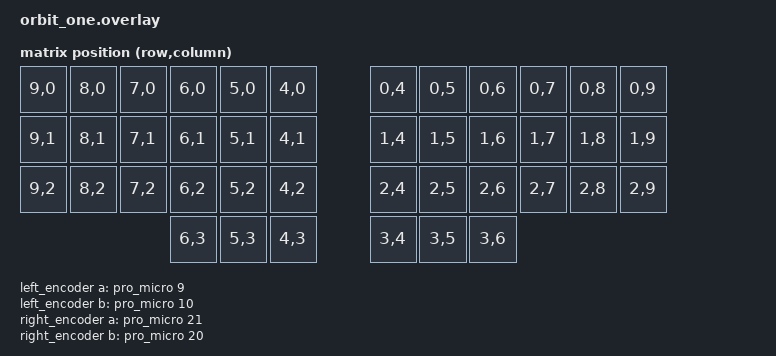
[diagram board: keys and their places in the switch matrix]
#include <dt-bindings/zmk/matrix_transform.h>
#include <physical_layouts.dtsi>

/ {

    chosen {
        zmk,kscan = &kscan0;
        zmk,physical-layout = &physical_layout0;
    };
  
    default_transform: keymap_transform_0 {
        compatible = "zmk,matrix-transform";
        columns = <12>;
        rows = <4>;
// | SW6  | SW5  | SW4  | SW3  | SW2  | SW1  |                 | SW1  | SW2  | SW3  | SW4  | SW5  | SW6  |
// | SW12 | SW11 | SW10 | SW9  | SW8  | SW7  |                 | SW7  | SW8  | SW9  | SW10 | SW11 | SW12 |
// | SW18 | SW17 | SW16 | SW15 | SW14 | SW13 |                 | SW13 | SW14 | SW15 | SW16 | SW17 | SW18 |
//                      | SW29 | SW28 | SW27 |                 | SW27 | SW28 | SW29 |
        map = <
          RC(9, 0) RC(8,0) RC(7,0) RC(6,0) RC(5,0) RC(4,0)                   RC(0,4) RC(0,5) RC(0,6)  RC(0,7) RC(0,8) RC(0,9)
          RC(9, 1) RC(8,1) RC(7,1) RC(6,1) RC(5,1) RC(4,1)                   RC(1,4) RC(1,5) RC(1,6)  RC(1,7) RC(1,8) RC(1,9)
          RC(9, 2) RC(8,2) RC(7,2) RC(6,2) RC(5,2) RC(4,2)                   RC(2,4) RC(2,5) RC(2,6)  RC(2,7) RC(2,8) RC(2,9)
                                   RC(6,3) RC(5,3) RC(4,3)                   RC(3,4) RC(3,5) RC(3,6)
        >;
    };

    kscan0: kscan_charlyplex {
      compatible = "zmk,kscan-gpio-charlieplex";
      wakeup-source;

            // row1 -> row4
      gpios = <&pro_micro 14 (GPIO_ACTIVE_HIGH)>  // 0
            , <&pro_micro 16 (GPIO_ACTIVE_HIGH)>  // 1
            , <&pro_micro 7 (GPIO_ACTIVE_HIGH)>   // 2
            , <&pro_micro 8 (GPIO_ACTIVE_HIGH)>   // 3
            // col1 -> col6
            , <&pro_micro 19 (GPIO_ACTIVE_HIGH)>  // 4
            , <&pro_micro 18 (GPIO_ACTIVE_HIGH)>  // 5
            , <&pro_micro 15 (GPIO_ACTIVE_HIGH)>  // 6
            , <&pro_micro 4 (GPIO_ACTIVE_HIGH)>   // 7
            , <&pro_micro 5 (GPIO_ACTIVE_HIGH)>   // 8
            , <&pro_micro 6 (GPIO_ACTIVE_HIGH)>   // 9
            ;
    };

    // Encoder definitions
    left_encoder: encoder_left {
        compatible = "alps,ec11";
        a-gpios = <&pro_micro 9 (GPIO_ACTIVE_HIGH | GPIO_PULL_UP)>;
        b-gpios = <&pro_micro 10 (GPIO_ACTIVE_HIGH | GPIO_PULL_UP)>;
        status = "okay";
    };

    right_encoder: encoder_right {
        compatible = "alps,ec11";
        a-gpios = <&pro_micro 21 (GPIO_ACTIVE_HIGH | GPIO_PULL_UP)>;
        b-gpios = <&pro_micro 20 (GPIO_ACTIVE_HIGH | GPIO_PULL_UP)>;
        status = "okay";
    };

    sensors: sensors {
        compatible = "zmk,keymap-sensors";
        sensors = <&left_encoder &right_encoder>;
        triggers-per-rotation = <20>;
    };

    // pointing device
    glidepoint_listener: glidepoint_input {
        compatible = "zmk,input-listener";
        device = <&glidepoint>;
    };

    physical_layout0: physical_layout_0 {
        compatible = "zmk,physical-layout";
        display-name = "Default Layout";

        kscan = <&kscan0>;
        transform = <&default_transform>;

    keys  //                     w   h    x    y     rot    rx    ry
            = <&key_physical_attrs 100 100    0   50       0     0     0>
            , <&key_physical_attrs 100 100  100   37       0     0     0>
            , <&key_physical_attrs 100 100  200   12       0     0     0>
            , <&key_physical_attrs 100 100  300    0       0     0     0>
            , <&key_physical_attrs 100 100  400   12       0     0     0>
            , <&key_physical_attrs 100 100  500   25       0     0     0>
            , <&key_physical_attrs 100 100 1050   25       0     0     0>
            , <&key_physical_attrs 100 100 1150   12       0     0     0>
            , <&key_physical_attrs 100 100 1250    0       0     0     0>
            , <&key_physical_attrs 100 100 1350   12       0     0     0>
            , <&key_physical_attrs 100 100 1450   37       0     0     0>
            , <&key_physical_attrs 100 100 1550   50       0     0     0>
            , <&key_physical_attrs 100 100    0  150       0     0     0>
            , <&key_physical_attrs 100 100  100  137       0     0     0>
            , <&key_physical_attrs 100 100  200  112       0     0     0>
            , <&key_physical_attrs 100 100  300  100       0     0     0>
            , <&key_physical_attrs 100 100  400  112       0     0     0>
            , <&key_physical_attrs 100 100  500  125       0     0     0>
            , <&key_physical_attrs 100 100 1050  125       0     0     0>
            , <&key_physical_attrs 100 100 1150  112       0     0     0>
            , <&key_physical_attrs 100 100 1250  100       0     0     0>
            , <&key_physical_attrs 100 100 1350  112       0     0     0>
            , <&key_physical_attrs 100 100 1450  137       0     0     0>
            , <&key_physical_attrs 100 100 1550  150       0     0     0>
            , <&key_physical_attrs 100 100    0  250       0     0     0>
            , <&key_physical_attrs 100 100  100  237       0     0     0>
            , <&key_physical_attrs 100 100  200  212       0     0     0>
            , <&key_physical_attrs 100 100  300  200       0     0     0>
            , <&key_physical_attrs 100 100  400  212       0     0     0>
            , <&key_physical_attrs 100 100  500  225       0     0     0>
            , <&key_physical_attrs 100 100 1050  225       0     0     0>
            , <&key_physical_attrs 100 100 1150  212       0     0     0>
            , <&key_physical_attrs 100 100 1250  200       0     0     0>
            , <&key_physical_attrs 100 100 1350  212       0     0     0>
            , <&key_physical_attrs 100 100 1450  237       0     0     0>
            , <&key_physical_attrs 100 100 1550  250       0     0     0>
            , <&key_physical_attrs 100 100  250  312       0     0     0>
            , <&key_physical_attrs 100 100  350  315       0     0     0>
            , <&key_physical_attrs 100 100  450  325       0     0     0>
            , <&key_physical_attrs 100 150  575  300    3000   625   375>
            , <&key_physical_attrs 100 150  975  300 (-3000)  1025   375>
            , <&key_physical_attrs 100 100 1100  325       0     0     0>
            , <&key_physical_attrs 100 100 1200  315       0     0     0>
            , <&key_physical_attrs 100 100 1300  315       0     0     0>
            ;
    };
};

&pro_micro_i2c {
    status = "okay";

    glidepoint: glidepoint@2a {
        compatible = "cirque,pinnacle";
        reg = <0x2a>;
        status = "okay";
        dr-gpios = <&pro_micro 3 (GPIO_ACTIVE_HIGH)>;

        sensitivity = "4x";
        sleep;
        no-taps;
    };
};
